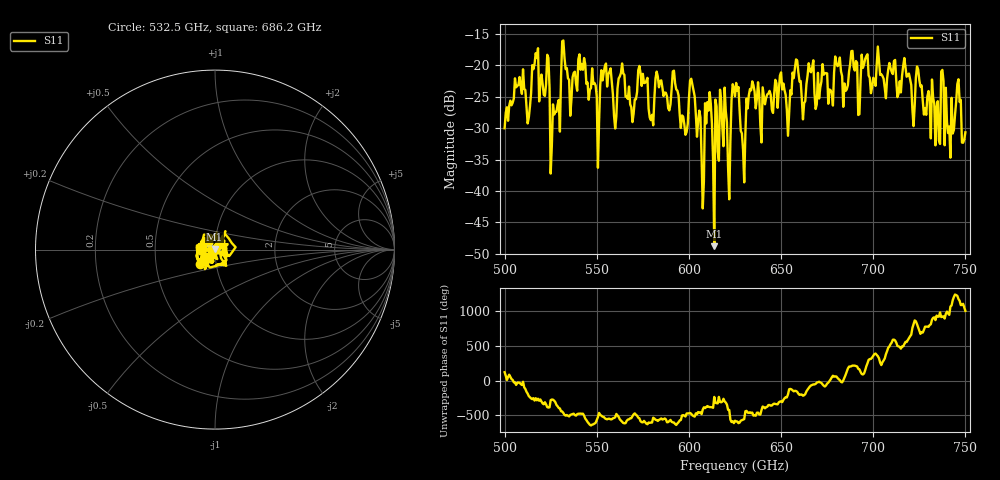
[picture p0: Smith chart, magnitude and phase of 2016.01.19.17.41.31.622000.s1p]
!Created with skrf (http://scikit-rf.org).
# GHz S RI R 50.0
!freq ReS11 ImS11
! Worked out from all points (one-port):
!   401 points, 500 GHz to 750 GHz, reference 50 ohm
!   lowest |S11| = -48.8 dB at 613.8 GHz (marker M1), VSWR 1.01, Z = 49.8 + j0.298 ohm
!   |S11| at or under -10 dB: start of sweep to end of sweep
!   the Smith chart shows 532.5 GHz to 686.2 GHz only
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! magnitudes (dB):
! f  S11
! 500 GHz  -30.0
! 506.9 GHz  -23.2
! 513.1 GHz  -28.3
! 516.9 GHz  -18.0
! 526.2 GHz  -26.2
! 531.2 GHz  -16.1
! 550.6 GHz  -36.3
! 553.8 GHz  -21.2
! 560 GHz  -30.1
! 562.5 GHz  -21.8
! 579.4 GHz  -28.7
! 593.8 GHz  -24.0
! 598.1 GHz  -31.1
! 601.9 GHz  -23.1
! 606.9 GHz  -34.7
! 611.2 GHz  -24.2
! 613.8 GHz  -48.8
! 618.1 GHz  -29.8
! 621.9 GHz  -41.3
! 625 GHz  -24.9
! 629.4 GHz  -33.5
! 633.8 GHz  -24.0
! 656.2 GHz  -21.1
! 687.5 GHz  -19.8
! 718.8 GHz  -21.6
! 735 GHz  -25.7
! 746.2 GHz  -22.2
! 750 GHz  -30.7
